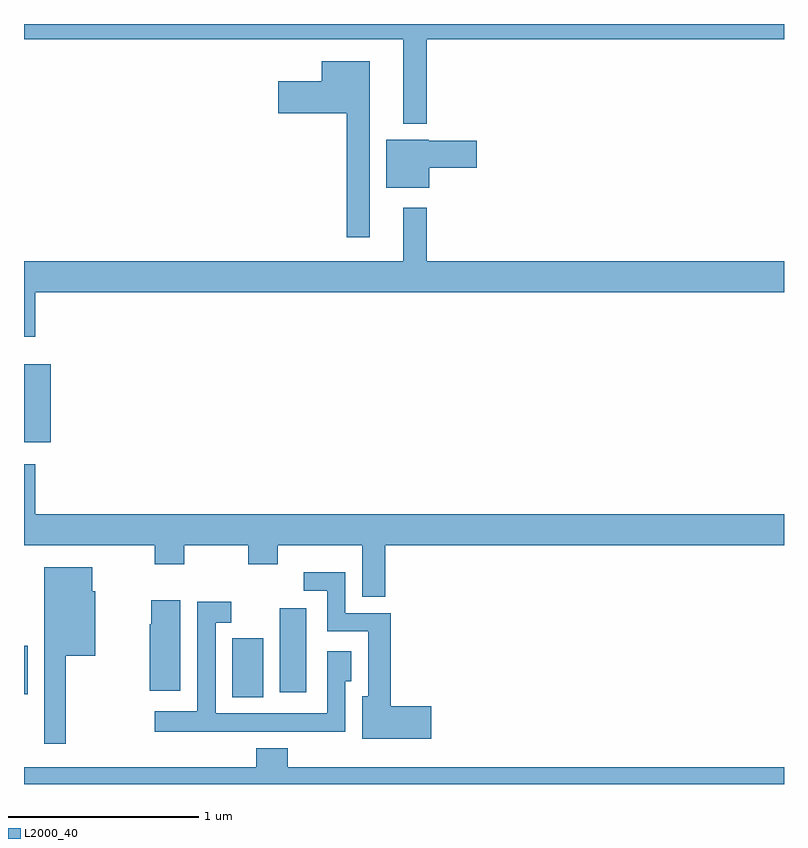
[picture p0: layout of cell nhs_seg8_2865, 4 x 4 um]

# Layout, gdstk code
import gdstk
lib = gdstk.Library(unit=1e-6, precision=1e-09)
def R(c, l, rs):  # rectangles x0, y0, x1, y1
    for r in rs: c.add(gdstk.rectangle(r[:2], r[2:], *l))
def P(c, l, *ps):  # polygons
    for p in ps: c.add(gdstk.Polygon(p, *l))
L2000_40 = (2000, 40)

nhs_seg8_2865 = lib.new_cell('nhs_seg8_2865')
R(nhs_seg8_2865, L2000_40, [(292.097,1126.357,292.258,1126.668), (291,1126.373,291.019,1126.627), (292.346,1126.382,292.486,1126.825), (291,1127.699,291.142,1128.109)])
P(nhs_seg8_2865, L2000_40, [(293.119,1129.82),(295,1129.82),(295,1129.9),(291,1129.9),(291,1129.82),(292.997,1129.82),(292.997,1129.376),(293.119,1129.376)],
  [(292.819,1129.705),(292.568,1129.705),(292.568,1129.6),(292.338,1129.6),(292.338,1129.43),(292.698,1129.43),(292.698,1128.777),(292.819,1128.777)],
  [(293.134,1129.144),(293.383,1129.144),(293.383,1129.286),(293.13,1129.286),(293.13,1129.291),(292.907,1129.291),(292.907,1129.037),(293.134,1129.037)],
  [(291.059,1128.488),(295,1128.488),(295,1128.652),(293.119,1128.652),(293.119,1128.934),(292.997,1128.934),(292.997,1128.652),(291,1128.652),(291,1128.255),(291.059,1128.255)],
  [(292.9,1127.156),(295,1127.156),(295,1127.32),(291.059,1127.32),(291.059,1127.584),(291,1127.584),(291,1127.156),(291.688,1127.156),(291.688,1127.057),(291.843,1127.057),(291.843,1127.156),(292.18,1127.156),(292.18,1127.057),(292.335,1127.057),(292.335,1127.156),(292.781,1127.156),(292.781,1126.885),(292.9,1126.885)],
  [(291.221,1126.574),(291.376,1126.574),(291.376,1126.914),(291.358,1126.914),(291.358,1127.041),(291.107,1127.041),(291.107,1126.113),(291.221,1126.113)],
  [(293.143,1126.31),(292.93,1126.31),(292.93,1126.8),(292.692,1126.8),(292.692,1127.014),(292.473,1127.014),(292.473,1126.917),(292.596,1126.917),(292.596,1126.704),(292.811,1126.704),(292.811,1126.363),(292.781,1126.363),(292.781,1126.139),(293.143,1126.139)],
  [(291.823,1126.867),(291.67,1126.867),(291.67,1126.74),(291.662,1126.74),(291.662,1126.392),(291.823,1126.392)],
  [(292.105,1126.176),(292.471,1126.176),(292.471,1126.175),(292.692,1126.175),(292.692,1126.441),(292.723,1126.441),(292.723,1126.6),(292.596,1126.6),(292.596,1126.272),(292.008,1126.272),(292.008,1126.749),(292.09,1126.749),(292.09,1126.858),(291.912,1126.858),(291.912,1126.282),(291.687,1126.282),(291.687,1126.175),(292.105,1126.175)],
  [(295,1125.988),(292.388,1125.988),(292.388,1126.087),(292.223,1126.087),(292.223,1125.988),(291,1125.988),(291,1125.9),(295,1125.9)])

lib.write_gds('nhs_seg8_2865.gds')
